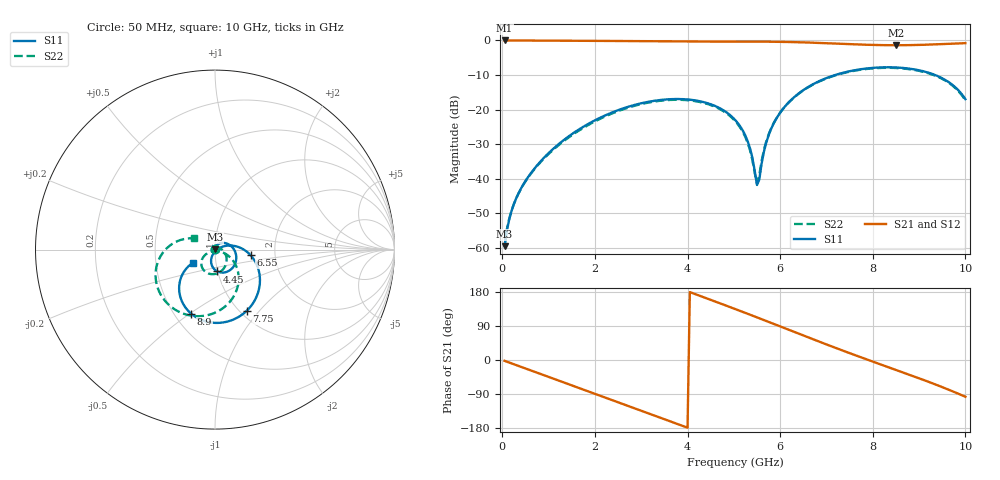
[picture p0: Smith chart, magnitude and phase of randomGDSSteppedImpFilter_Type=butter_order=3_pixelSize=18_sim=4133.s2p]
! freq	dB(S11)	phase(S11)	dB(S12)	phase(S12)
!  dB(S21)	phase(S21)	dB(S22)	phase(S22)
!S-par simulation data
#  GHz  S  DB  R 50
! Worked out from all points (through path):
!   200 points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, 50 MHz to 10 GHz, reference 50 ohm
!   highest |S21| = 0.00 dB at 50 MHz (marker M1); lowest = -1.4 dB at 8.5 GHz (marker M2)
!   group delay of S21, straight-line fit = 127 ps
!   lowest |S11| = -59.6 dB at 50 MHz (marker M3), VSWR 1.00, Z = 50 + j0.0974 ohm
!   |S11| at or under -10 dB: start of sweep to 7.19 GHz; 9.343 GHz to end of sweep
!   |S22| runs from -59.5 to -7.9 dB; largest |S21 - S12| = 0
!   S11 on the Smith chart (normalised r, x): 50 MHz: 1.00, +0.00; 4.45 GHz: 1.00, -0.25; 6.55 GHz: 1.49, -0.10; 7.75 GHz: 1.07, -0.86; 8.9 GHz: 0.61, -0.51; 10 GHz: 0.78, -0.11
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0.05  -59.58 68.1  -0.00 -2.3  -0.00 -2.3  -59.46 72.6
0.2  -49.36 81.2  -0.02 -9.0  -0.02 -9.0  -49.30 67.1
0.5  -40.71 82.9  -0.03 -22.3  -0.03 -22.3  -40.81 51.0
1.15  -30.79 66.6  -0.06 -51.3  -0.06 -51.3  -31.08 13.3
1.75  -24.99 42.0  -0.10 -78.0  -0.10 -78.0  -25.31 -15.5
2.55  -19.96 5.0  -0.17 -113.8  -0.17 -113.8  -20.22 -49.9
3.4  -17.26 -35.3  -0.27 -151.8  -0.27 -151.8  -17.48 -85.4
4.45  -18.25 -83.7  -0.33 161.1  -0.33 161.1  -18.48 -128.5
5.05  -23.36 -108.9  -0.33 133.6  -0.33 133.6  -23.68 -150.9
5.35  -31.28 -113.4  -0.33 119.6  -0.33 119.6  -31.83 -152.4
5.5  -41.87 -63.5  -0.34 112.5  -0.34 112.5  -41.41 -93.3
5.55  -40.27 -10.8  -0.34 110.1  -0.34 110.1  -38.98 -48.6
5.65  -32.18 18.4  -0.35 105.4  -0.35 105.4  -31.70 -23.5
5.85  -24.32 19.6  -0.38 95.9  -0.38 95.9  -24.22 -21.8
6.55  -13.94 -9.0  -0.58 62.3  -0.58 62.3  -14.02 -48.6
6.7  -12.75 -15.8  -0.65 55.2  -0.65 55.2  -12.85 -55.2
7.75  -8.32 -62.6  -1.20 6.9  -1.20 6.9  -8.45 -101.4
8.35  -7.77 -87.9  -1.38 -19.5  -1.38 -19.5  -7.92 -127.3
8.5  -7.82 -94.1  -1.38 -26.0  -1.38 -26.0  -7.98 -133.7
8.9  -8.39 -110.5  -1.33 -43.7  -1.33 -43.7  -8.55 -151.3
9.55  -11.32 -136.6  -1.02 -74.0  -1.02 -74.0  -11.50 177.8
10  -17.00 -149.2  -0.79 -97.0  -0.79 -97.0  -17.38 152.4
